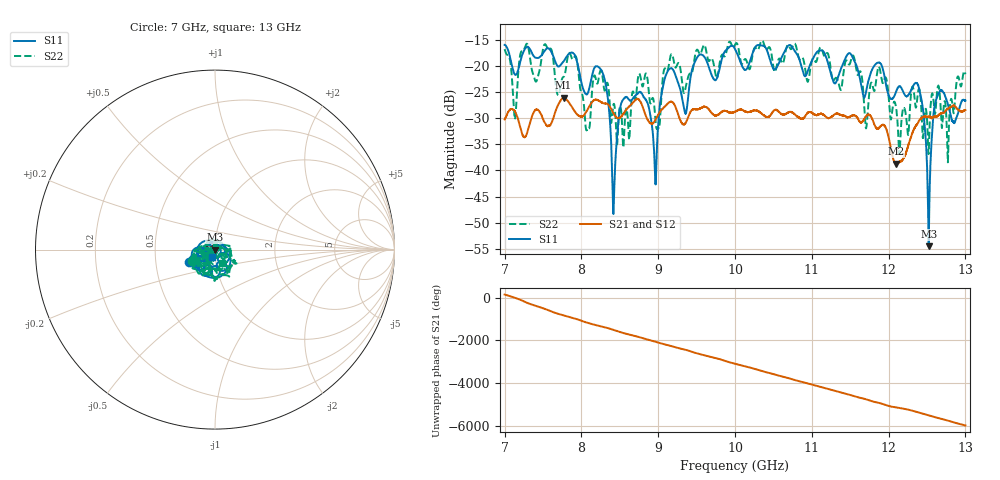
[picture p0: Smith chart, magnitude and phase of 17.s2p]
[Version] 2.0
! Rohde & Schwarz Vector Network Analyzer
! Rohde-Schwarz,ZNL20-2Port,1323001220200009,1.71.1.10-23.02.1.238
! Port Assignments:
! Nominal Port -> Actual Test Port
!  1 -> 1
!  2 -> 2
! Created: GMT+3 2024-09-24 16:07:05
# Hz S DB R 50
[Number of Ports] 2
[Two-Port Data Order] 21_12
! freq[Hz]  S11[mag dB]  S11[ang]  S21[mag dB]  S21[ang]  S12[mag dB]  S12[ang]  S22[mag dB]  S22[ang]
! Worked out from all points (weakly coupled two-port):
!   6001 points, 7 GHz to 13 GHz, reference 50 ohm
!   highest |S21| = -26.06 dB at 7.767 GHz (marker M1); lowest = -38.7 dB at 12.1 GHz (marker M2)
!   lowest |S11| = -54.5 dB at 12.52 GHz (marker M3), VSWR 1.00, Z = 49.8 - j0.0785 ohm
!   |S11| at or under -10 dB: start of sweep to end of sweep
!   |S22| runs from -38.5 to -15.1 dB; largest |S21 - S12| = 0.0011
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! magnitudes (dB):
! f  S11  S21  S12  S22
! 7 GHz  -16.0  -30.2  -30.2  -16.8
! 7.133 GHz  -21.6  -28.6  -28.7  -30.2
! 7.279 GHz  -16.5  -33.3  -33.3  -15.9
! 7.767 GHz  -19.2  -26.1  -26.1  -22.1
! 8 GHz  -23.2  -29.7  -29.7  -25.2
! 8.083 GHz  -25.2  -28.3  -28.3  -32.1
! 8.284 GHz  -21.6  -27.1  -27.1  -23.2
! 8.421 GHz  -46.9  -29.2  -29.2  -27.3
! 8.555 GHz  -26.2  -29.0  -29.0  -33.5
! 8.838 GHz  -26.5  -29.5  -29.5  -21.5
! 9 GHz  -31.0  -29.3  -29.3  -31.9
! 9.169 GHz  -20.4  -26.9  -26.8  -17.8
! 9.354 GHz  -29.1  -31.0  -31.0  -24.4
! 10 GHz  -16.8  -28.8  -28.7  -16.0
! 11 GHz  -19.1  -29.0  -29.0  -19.0
! 12 GHz  -25.6  -33.6  -33.7  -25.8
! 12.1 GHz  -25.1  -38.7  -38.6  -27.7
! 12.39 GHz  -24.0  -30.7  -30.7  -24.5
! 12.52 GHz  -54.5  -29.7  -29.7  -36.6
! 12.64 GHz  -25.6  -29.6  -29.5  -24.0
! 12.77 GHz  -27.4  -28.2  -28.2  -38.3
! 13 GHz  -26.6  -28.4  -28.4  -21.6
